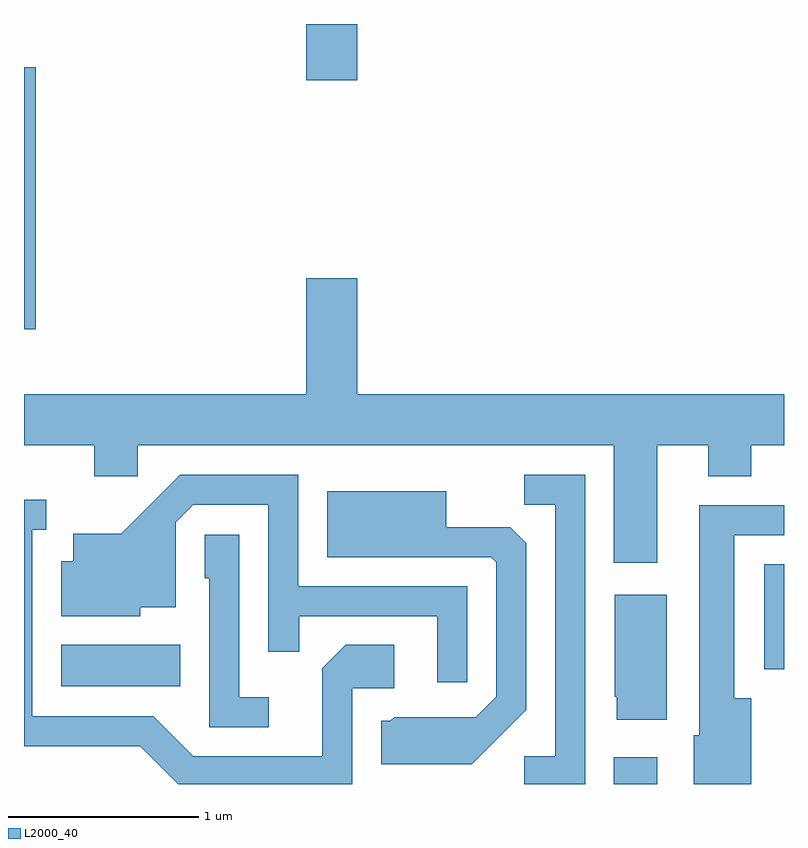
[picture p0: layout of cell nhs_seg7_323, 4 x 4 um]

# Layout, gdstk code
import gdstk
lib = gdstk.Library(unit=1e-6, precision=1e-09)
def R(c, l, rs):  # rectangles x0, y0, x1, y1
    for r in rs: c.add(gdstk.rectangle(r[:2], r[2:], *l))
def P(c, l, *ps):  # polygons
    for p in ps: c.add(gdstk.Polygon(p, *l))
L2000_40 = (2000, 40)

nhs_seg7_323 = lib.new_cell('nhs_seg7_323')
R(nhs_seg7_323, L2000_40, [(196.716,1770.252,196.944,1770.394), (193.806,1770.766,194.434,1770.984), (197.506,1770.856,197.611,1771.409), (193.611,1772.646,193.674,1774.024), (195.096,1773.956,195.364,1774.252)])
P(nhs_seg7_323, L2000_40, [(196.944,1772.036),(197.211,1772.036),(197.211,1771.871),(197.439,1771.871),(197.439,1772.036),(197.611,1772.036),(197.611,1772.304),(195.364,1772.304),(195.364,1772.914),(195.096,1772.914),(195.096,1772.304),(193.611,1772.304),(193.611,1772.036),(193.981,1772.036),(193.981,1771.871),(194.209,1771.871),(194.209,1772.036),(196.716,1772.036),(196.716,1771.416),(196.944,1771.416)],
  [(195.944,1771.294),(195.054,1771.294),(195.054,1771.879),(194.434,1771.879),(194.124,1771.569),(193.871,1771.569),(193.871,1771.424),(193.806,1771.424),(193.806,1771.136),(194.224,1771.136),(194.224,1771.181),(194.409,1771.181),(194.409,1771.629),(194.502,1771.721),(194.896,1771.721),(194.896,1770.948),(195.059,1770.948),(195.059,1771.136),(195.786,1771.136),(195.786,1770.788),(195.944,1770.788)],
  [(196.564,1771.879),(196.243,1771.879),(196.243,1771.721),(196.406,1771.721),(196.406,1770.399),(196.243,1770.399),(196.243,1770.252),(196.564,1770.252)],
  [(196.254,1770.644),(196.254,1771.519),(196.169,1771.604),(195.834,1771.604),(195.834,1771.794),(195.206,1771.794),(195.206,1771.446),(196.069,1771.446),(196.096,1771.419),(196.096,1770.712),(195.989,1770.604),(195.559,1770.604),(195.539,1770.584),(195.491,1770.584),(195.491,1770.356),(195.967,1770.356)],
  [(195.339,1770.756),(195.559,1770.756),(195.559,1770.984),(195.304,1770.984),(195.181,1770.862),(195.181,1770.399),(194.502,1770.399),(194.292,1770.609),(193.654,1770.609),(193.654,1771.591),(193.728,1771.591),(193.728,1771.749),(193.611,1771.749),(193.611,1770.451),(194.224,1770.451),(194.423,1770.252),(195.339,1770.252)],
  [(197.439,1770.704),(197.349,1770.704),(197.349,1771.561),(197.611,1771.561),(197.611,1771.719),(197.166,1771.719),(197.166,1770.509),(197.136,1770.509),(197.136,1770.252),(197.439,1770.252)],
  [(194.898,1770.709),(194.744,1770.709),(194.744,1771.564),(194.561,1771.564),(194.561,1771.336),(194.586,1771.336),(194.586,1770.551),(194.898,1770.551)],
  [(196.994,1771.249),(196.721,1771.249),(196.721,1770.71),(196.731,1770.71),(196.731,1770.591),(196.994,1770.591)])

lib.write_gds('nhs_seg7_323.gds')
